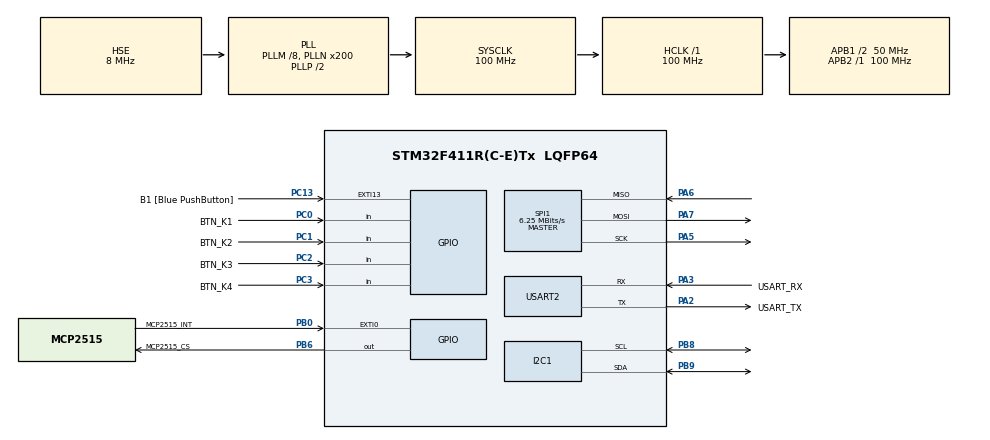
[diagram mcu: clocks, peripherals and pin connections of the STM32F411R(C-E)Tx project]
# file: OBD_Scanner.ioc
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FREERTOS.INCLUDE_vTaskDelayUntil=1
FREERTOS.Tasks01=defaultTask,0,512,StartDefaultTask,Default,NULL,Dynamic,NULL,NULL
FREERTOS.configCHECK_FOR_STACK_OVERFLOW=2
FREERTOS.configMAX_PRIORITIES=8
Mcu.Family=STM32F4
Mcu.Name=STM32F411R(C-E)Tx
Mcu.Package=LQFP64
NVIC.PriorityGroup=NVIC_PRIORITYGROUP_4
NVIC.TIM4_IRQn=true\:0\:0\:false\:false\:true\:false\:false\:true\:true
NVIC.TimeBase=TIM4_IRQn
NVIC.TimeBaseIP=TIM4
PA13.GPIO_Label=TMS
PA13.Mode=Serial_Wire
PA13.Signal=SYS_JTMS-SWDIO
PA14.GPIO_Label=TCK
PA14.Mode=Serial_Wire
PA14.Signal=SYS_JTCK-SWCLK
PA2.GPIO_Label=USART_TX
PA2.Mode=Asynchronous
PA2.Signal=USART2_TX
PA3.GPIO_Label=USART_RX
PA3.Mode=Asynchronous
PA3.Signal=USART2_RX
PA5.Mode=Full_Duplex_Master
PA5.Signal=SPI1_SCK
PA6.Mode=Full_Duplex_Master
PA6.Signal=SPI1_MISO
PA7.Mode=Full_Duplex_Master
PA7.Signal=SPI1_MOSI
PB0.GPIO_Label=MCP2515_INT
PB0.GPIO_ModeDefaultEXTI=GPIO_MODE_IT_FALLING
PB0.GPIO_PuPd=GPIO_PULLUP
PB0.Signal=GPXTI0
PB3.GPIO_Label=SWO
PB3.Signal=SYS_JTDO-SWO
PB6.GPIO_Label=MCP2515_CS
PB6.GPIO_Speed=GPIO_SPEED_FREQ_HIGH
PB6.PinState=GPIO_PIN_SET
PB6.Signal=GPIO_Output
PB8.Mode=I2C
PB8.Signal=I2C1_SCL
PB9.Mode=I2C
PB9.Signal=I2C1_SDA
PC0.GPIO_Label=BTN_K1
PC0.GPIO_PuPd=GPIO_PULLUP
PC0.Signal=GPIO_Input
PC1.GPIO_Label=BTN_K2
PC1.GPIO_PuPd=GPIO_PULLUP
PC1.Signal=GPIO_Input
PC13-ANTI_TAMP.GPIO_Label=B1 [Blue PushButton]
PC13-ANTI_TAMP.GPIO_ModeDefaultEXTI=GPIO_MODE_IT_FALLING
PC13-ANTI_TAMP.Signal=GPXTI13
PC14-OSC32_IN.Signal=RCC_OSC32_IN
PC15-OSC32_OUT.Signal=RCC_OSC32_OUT
PC2.GPIO_Label=BTN_K3
PC2.GPIO_PuPd=GPIO_PULLUP
PC2.Signal=GPIO_Input
PC3.GPIO_Label=BTN_K4
PC3.GPIO_PuPd=GPIO_PULLUP
PC3.Signal=GPIO_Input
PH0\ -\ OSC_IN.Mode=HSE-External-Clock-Source
PH0\ -\ OSC_IN.Signal=RCC_OSC_IN
PH1\ -\ OSC_OUT.Mode=HSE-External-Clock-Source
PH1\ -\ OSC_OUT.Signal=RCC_OSC_OUT
ProjectManager.HeapSize=0x200
ProjectManager.StackSize=0x400
ProjectManager.TargetToolchain=STM32CubeIDE
RCC.48MHZClocksFreq_Value=50000000
RCC.AHBFreq_Value=100000000
RCC.APB1CLKDivider=RCC_HCLK_DIV2
RCC.APB1Freq_Value=50000000
RCC.APB1TimFreq_Value=100000000
RCC.APB2Freq_Value=100000000
RCC.APB2TimFreq_Value=100000000
RCC.CortexFreq_Value=100000000
RCC.FLatency-AdvancedSettings=FLASH_LATENCY_3
RCC.HCLKFreq_Value=100000000
RCC.HSE_VALUE=8000000
RCC.HSI_VALUE=16000000
RCC.LSE_VALUE=32768
RCC.PLLM=8
RCC.PLLN=200
RCC.PLLSourceVirtual=RCC_PLLSOURCE_HSE
RCC.SYSCLKFreq_VALUE=100000000
RCC.SYSCLKSource=RCC_SYSCLKSOURCE_PLLCLK
RCC.VCOOutputFreq_Value=200000000
SPI1.BaudRatePrescaler=SPI_BAUDRATEPRESCALER_16
SPI1.CalculateBaudRate=6.25 MBits/s
SPI1.Direction=SPI_DIRECTION_2LINES
SPI1.Mode=SPI_MODE_MASTER
SPI1.VirtualType=VM_MASTER
USART2.VirtualMode=VM_ASYNC
VP_FREERTOS_VS_CMSIS_V1.Mode=CMSIS_V1
VP_SYS_VS_tim4.Mode=TIM4
board=NUCLEO-F411RE

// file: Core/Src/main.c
/* USER CODE BEGIN Header */
// : - : Main program body
/* USER CODE END Header */

#include "main.h"
#include "cmsis_os.h"
#include "i2c.h"
#include "spi.h"
#include "usart.h"
#include "gpio.h"

void SystemClock_Config(void);
void MX_FREERTOS_Init(void);

// The application entry point.
int main(void)
{

  HAL_Init();

  SystemClock_Config();

  MX_GPIO_Init();
  MX_USART2_UART_Init();
  MX_I2C1_Init();
  MX_SPI1_Init();
  /* USER CODE BEGIN 2 */

  {
      const char boot_msg[] = "\r\n=== IntelliOBD Scanner Boot ===\r\n";
      HAL_UART_Transmit(&huart2, (uint8_t*)boot_msg, sizeof(boot_msg)-1, HAL_MAX_DELAY);
  }
  /* USER CODE END 2 */

  MX_FREERTOS_Init();

  osKernelStart();

  while (1)
  {

  }
}

// System Clock Configuration
void SystemClock_Config(void)
{
  RCC_OscInitTypeDef RCC_OscInitStruct = {0};
  RCC_ClkInitTypeDef RCC_ClkInitStruct = {0};

  __HAL_RCC_PWR_CLK_ENABLE();
  __HAL_PWR_VOLTAGESCALING_CONFIG(PWR_REGULATOR_VOLTAGE_SCALE1);

  RCC_OscInitStruct.OscillatorType = RCC_OSCILLATORTYPE_HSE;
  RCC_OscInitStruct.HSEState = RCC_HSE_BYPASS;
  RCC_OscInitStruct.PLL.PLLState = RCC_PLL_ON;
  RCC_OscInitStruct.PLL.PLLSource = RCC_PLLSOURCE_HSE;
  RCC_OscInitStruct.PLL.PLLM = 8;
  RCC_OscInitStruct.PLL.PLLN = 200;
  RCC_OscInitStruct.PLL.PLLP = RCC_PLLP_DIV2;
  RCC_OscInitStruct.PLL.PLLQ = 4;
  if (HAL_RCC_OscConfig(&RCC_OscInitStruct) != HAL_OK)
  {
    Error_Handler();
  }

  RCC_ClkInitStruct.ClockType = RCC_CLOCKTYPE_HCLK|RCC_CLOCKTYPE_SYSCLK
                              |RCC_CLOCKTYPE_PCLK1|RCC_CLOCKTYPE_PCLK2;
  RCC_ClkInitStruct.SYSCLKSource = RCC_SYSCLKSOURCE_PLLCLK;
  RCC_ClkInitStruct.AHBCLKDivider = RCC_SYSCLK_DIV1;
  RCC_ClkInitStruct.APB1CLKDivider = RCC_HCLK_DIV2;
  RCC_ClkInitStruct.APB2CLKDivider = RCC_HCLK_DIV1;

  if (HAL_RCC_ClockConfig(&RCC_ClkInitStruct, FLASH_LATENCY_3) != HAL_OK)
  {
    Error_Handler();
  }
}

/* USER CODE BEGIN 4 */

// Printf retarget: syscalls.c'deki _write() bu fonksiyonu çağırır
int __io_putchar(int ch)
{
    uint8_t c = (uint8_t)ch;
    HAL_UART_Transmit(&huart2, &c, 1, HAL_MAX_DELAY);
    return ch;
}

/* USER CODE END 4 */

// Period elapsed callback in non blocking mode
void HAL_TIM_PeriodElapsedCallback(TIM_HandleTypeDef *htim)
{
  if (htim->Instance == TIM4)
  {
    HAL_IncTick();
  }
}

// This function is executed in case of error occurrence.
void Error_Handler(void)
{
  __disable_irq();
  while (1)
  {
  }
}

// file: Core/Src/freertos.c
/* USER CODE BEGIN Header */

/* USER CODE END Header */

#include "FreeRTOS.h"
#include "task.h"
#include "main.h"
#include "cmsis_os.h"

/* USER CODE BEGIN Includes */
#include "app_tasks_scanner.h"
#include "task.h"
#include "i2c.h"
#include "spi.h"
#include "usart.h"
/* USER CODE END Includes */

osThreadId defaultTaskHandle;

void StartDefaultTask(void const * argument);

void MX_FREERTOS_Init(void);

void vApplicationGetIdleTaskMemory( StaticTask_t **ppxIdleTaskTCBBuffer, StackType_t **ppxIdleTaskStackBuffer, uint32_t *pulIdleTaskStackSize );

void vApplicationStackOverflowHook(xTaskHandle xTask, signed char *pcTaskName);

/* USER CODE BEGIN 4 */
__weak void vApplicationStackOverflowHook(xTaskHandle xTask, signed char *pcTaskName)
{

   (void)xTask;
   (void)pcTaskName;
   __disable_irq();
   while(1) {

   }
}
/* USER CODE END 4 */

/* USER CODE BEGIN GET_IDLE_TASK_MEMORY */
static StaticTask_t xIdleTaskTCBBuffer;
static StackType_t xIdleStack[configMINIMAL_STACK_SIZE];

void vApplicationGetIdleTaskMemory( StaticTask_t **ppxIdleTaskTCBBuffer, StackType_t **ppxIdleTaskStackBuffer, uint32_t *pulIdleTaskStackSize )
{
  *ppxIdleTaskTCBBuffer = &xIdleTaskTCBBuffer;
  *ppxIdleTaskStackBuffer = &xIdleStack[0];
  *pulIdleTaskStackSize = configMINIMAL_STACK_SIZE;

}
/* USER CODE END GET_IDLE_TASK_MEMORY */

// FreeRTOS initialization
void MX_FREERTOS_Init(void) {

  osThreadDef(defaultTask, StartDefaultTask, osPriorityNormal, 0, 512);
  defaultTaskHandle = osThreadCreate(osThread(defaultTask), NULL);

}

/* USER CODE BEGIN Header_StartDefaultTask */
// Function implementing the defaultTask thread.
/* USER CODE END Header_StartDefaultTask */
void StartDefaultTask(void const * argument)
{
  /* USER CODE BEGIN StartDefaultTask */
  (void)argument;

  AppTasks_Scanner_Init(&hspi1, &huart2, &hi2c1);

  vTaskDelete(NULL);
  /* USER CODE END StartDefaultTask */
}
